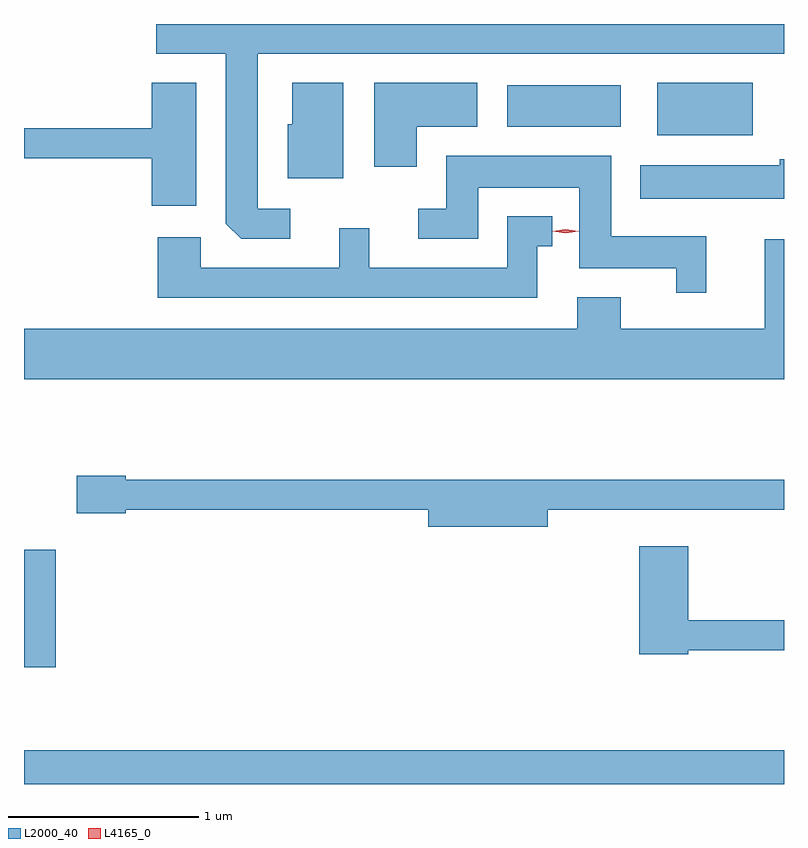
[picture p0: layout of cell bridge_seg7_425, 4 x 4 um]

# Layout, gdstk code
import gdstk
lib = gdstk.Library(unit=1e-6, precision=1e-09)
def R(c, l, rs):  # rectangles x0, y0, x1, y1
    for r in rs: c.add(gdstk.rectangle(r[:2], r[2:], *l))
def P(c, l, *ps):  # polygons
    for p in ps: c.add(gdstk.Polygon(p, *l))
L2000_40 = (2000, 40)
L4165_0 = (4165, 0)

bridge_seg7_425 = lib.new_cell('bridge_seg7_425')
R(bridge_seg7_425, L2000_40, [(1225.828,1689.987,1229.828,1690.164), (1225.828,1690.601,1225.994,1691.219), (1229.161,1693.401,1229.664,1693.679), (1228.371,1693.446,1228.969,1693.664)])
P(bridge_seg7_425, L2000_40, [(1227.228,1693.014),(1227.059,1693.014),(1227.059,1693.831),(1229.828,1693.831),(1229.828,1693.987),(1226.523,1693.987),(1226.523,1693.831),(1226.891,1693.831),(1226.891,1692.937),(1226.972,1692.856),(1227.228,1692.856)],
  [(1227.894,1693.446),(1228.214,1693.446),(1228.214,1693.679),(1227.671,1693.679),(1227.671,1693.236),(1227.894,1693.236)],
  [(1227.509,1693.679),(1227.241,1693.679),(1227.241,1693.459),(1227.216,1693.459),(1227.216,1693.176),(1227.509,1693.176)],
  [(1226.734,1693.679),(1226.501,1693.679),(1226.501,1693.439),(1225.828,1693.439),(1225.828,1693.281),(1226.501,1693.281),(1226.501,1693.031),(1226.734,1693.031)],
  [(1229.419,1692.869),(1228.919,1692.869),(1228.919,1693.294),(1228.051,1693.294),(1228.051,1693.014),(1227.903,1693.014),(1227.903,1692.856),(1228.219,1692.856),(1228.219,1693.126),(1228.751,1693.126),(1228.751,1692.701),(1229.261,1692.701),(1229.261,1692.573),(1229.419,1692.573)],
  [(1229.828,1693.274),(1229.806,1693.274),(1229.806,1693.244),(1229.071,1693.244),(1229.071,1693.066),(1229.828,1693.066)],
  [(1228.529,1692.816),(1228.608,1692.816),(1228.608,1692.974),(1228.371,1692.974),(1228.371,1692.704),(1227.644,1692.704),(1227.644,1692.913),(1227.486,1692.913),(1227.486,1692.704),(1226.759,1692.704),(1226.759,1692.864),(1226.531,1692.864),(1226.531,1692.546),(1228.529,1692.546)],
  [(1229.828,1692.853),(1229.726,1692.853),(1229.726,1692.384),(1228.969,1692.384),(1228.969,1692.549),(1228.741,1692.549),(1228.741,1692.384),(1225.828,1692.384),(1225.828,1692.116),(1229.828,1692.116)],
  [(1228.584,1691.431),(1229.828,1691.431),(1229.828,1691.589),(1226.364,1691.589),(1226.364,1691.609),(1226.106,1691.609),(1226.106,1691.411),(1226.364,1691.411),(1226.364,1691.431),(1227.956,1691.431),(1227.956,1691.341),(1228.584,1691.341)],
  [(1229.324,1690.691),(1229.828,1690.691),(1229.828,1690.849),(1229.324,1690.849),(1229.324,1691.239),(1229.066,1691.239),(1229.066,1690.671),(1229.324,1690.671)])
P(bridge_seg7_425, L4165_0, [(1228.678,1692.886),(1228.609,1692.895),(1228.609,1692.896),(1228.609,1692.896),(1228.678,1692.906),(1228.748,1692.897),(1228.748,1692.896),(1228.748,1692.896)])

lib.write_gds('bridge_seg7_425.gds')
